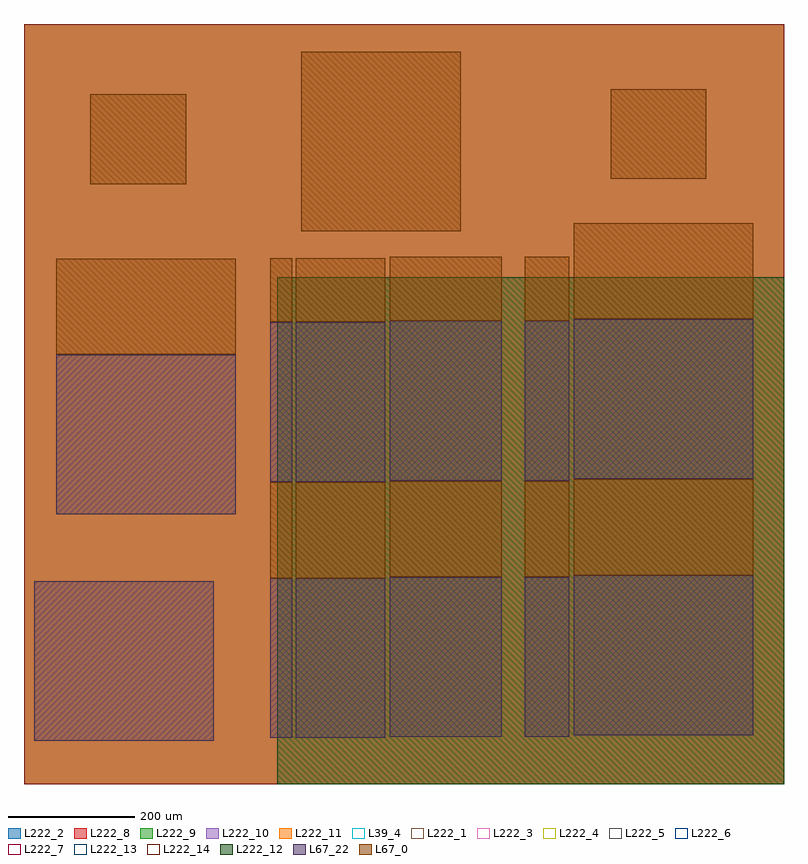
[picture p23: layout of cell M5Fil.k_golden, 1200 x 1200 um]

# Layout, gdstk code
import gdstk
lib = gdstk.Library(unit=1e-6, precision=1e-09)
def R(c, l, rs):  # rectangles x0, y0, x1, y1
    for r in rs: c.add(gdstk.rectangle(r[:2], r[2:], *l))
def A(c, l, x, y, w, h, nx, ny, dx, dy):  # array of equal rectangles
    R(c, l, [(x+i*dx, y+j*dy, x+i*dx+w, y+j*dy+h) for i in range(nx) for j in range(ny)])
L39_4 = (39, 4)
L67_0 = (67, 0)
L67_22 = (67, 22)
L222_1 = (222, 1)
L222_2 = (222, 2)
L222_3 = (222, 3)
L222_4 = (222, 4)
L222_5 = (222, 5)
L222_6 = (222, 6)
L222_7 = (222, 7)
L222_8 = (222, 8)
L222_9 = (222, 9)
L222_10 = (222, 10)
L222_11 = (222, 11)
L222_12 = (222, 12)
L222_13 = (222, 13)
L222_14 = (222, 14)

m5fil_k_golden = lib.new_cell('M5Fil.k_golden')
R(m5fil_k_golden, L39_4, [(0,0,1200,1200)])
A(m5fil_k_golden, L67_0, 388.907, 325.181, 35, 50, 1, 3, 0, 50.5)
A(m5fil_k_golden, L67_0, 428.961, 325.181, 35, 50, 4, 3, 35.5, 50.5)
A(m5fil_k_golden, L67_0, 577.375, 326.969, 35, 50, 5, 3, 35.5, 50.5)
A(m5fil_k_golden, L67_0, 790.375, 326.969, 35, 50, 1, 3, 0, 50.5)
A(m5fil_k_golden, L67_0, 825.875, 326.969, 35, 50, 1, 3, 0, 50.5)
A(m5fil_k_golden, L67_0, 867.765, 329.83, 35, 50, 8, 3, 35.5, 50.5)
A(m5fil_k_golden, L67_0, 51.184, 678.548, 35, 50, 8, 3, 35.5, 50.5)
A(m5fil_k_golden, L67_0, 428.961, 729.88, 35, 50, 4, 2, 35.5, 50.5)
A(m5fil_k_golden, L67_0, 577.375, 731.668, 35, 50, 5, 2, 35.5, 50.5)
A(m5fil_k_golden, L67_0, 867.765, 734.529, 35, 50, 8, 3, 35.5, 50.5)
A(m5fil_k_golden, L67_0, 437.464, 872.858, 50, 35, 5, 8, 50.5, 35.5)
A(m5fil_k_golden, L67_0, 104.944, 947.263, 50, 35, 3, 4, 50.5, 35.5)
A(m5fil_k_golden, L67_0, 926.574, 955.698, 50, 35, 3, 4, 50.5, 35.5)
R(m5fil_k_golden, L67_0, [(388.907,729.88,423.907,779.88), (790.375,731.668,825.375,781.668), (825.875,731.668,860.875,781.668), (388.907,780.38,423.907,830.38), (790.375,782.168,825.375,832.168), (825.875,782.168,860.875,832.168)])
A(m5fil_k_golden, L67_22, 15.949, 68.148, 35, 50, 8, 5, 35.5, 50.5)
A(m5fil_k_golden, L67_22, 388.907, 72.681, 35, 50, 1, 5, 0, 50.5)
A(m5fil_k_golden, L67_22, 428.961, 72.681, 35, 50, 4, 5, 35.5, 50.5)
A(m5fil_k_golden, L67_22, 577.375, 74.469, 35, 50, 5, 5, 35.5, 50.5)
A(m5fil_k_golden, L67_22, 790.375, 74.469, 35, 50, 1, 5, 0, 50.5)
A(m5fil_k_golden, L67_22, 825.875, 74.469, 35, 50, 1, 5, 0, 50.5)
A(m5fil_k_golden, L67_22, 867.765, 77.33, 35, 50, 8, 5, 35.5, 50.5)
A(m5fil_k_golden, L67_22, 51.184, 426.048, 35, 50, 8, 5, 35.5, 50.5)
A(m5fil_k_golden, L67_22, 388.907, 477.38, 35, 50, 1, 5, 0, 50.5)
A(m5fil_k_golden, L67_22, 428.961, 477.38, 35, 50, 4, 5, 35.5, 50.5)
A(m5fil_k_golden, L67_22, 577.375, 479.168, 35, 50, 5, 5, 35.5, 50.5)
A(m5fil_k_golden, L67_22, 790.375, 479.168, 35, 50, 1, 5, 0, 50.5)
A(m5fil_k_golden, L67_22, 825.875, 479.168, 35, 50, 1, 5, 0, 50.5)
A(m5fil_k_golden, L67_22, 867.765, 482.029, 35, 50, 8, 5, 35.5, 50.5)
R(m5fil_k_golden, L222_1, [(0,0,1200,1200)])
R(m5fil_k_golden, L222_2, [(0,0,800,800), (400,0,1200,800), (0,400,800,1200), (400,400,1200,1200)])
R(m5fil_k_golden, L222_3, [(0,0,1200,1200)])
R(m5fil_k_golden, L222_4, [(0,0,1200,1200)])
R(m5fil_k_golden, L222_5, [(0,0,1200,1200)])
R(m5fil_k_golden, L222_6, [(0,0,1200,1200)])
R(m5fil_k_golden, L222_7, [(0,0,1200,1200)])
R(m5fil_k_golden, L222_8, [(0,0,800,800), (400,0,1200,800), (0,400,800,1200), (400,400,1200,1200)])
R(m5fil_k_golden, L222_9, [(0,0,800,800), (400,0,1200,800), (0,400,800,1200), (400,400,1200,1200)])
R(m5fil_k_golden, L222_10, [(0,0,800,800), (400,0,1200,800), (0,400,800,1200), (400,400,1200,1200)])
R(m5fil_k_golden, L222_11, [(0,0,800,800), (400,0,1200,800), (0,400,800,1200), (400,400,1200,1200)])
R(m5fil_k_golden, L222_12, [(400,0,1200,800)])
R(m5fil_k_golden, L222_13, [(0,0,1200,1200)])
R(m5fil_k_golden, L222_14, [(0,0,1200,1200)])

lib.write_gds('M5Fil.k_golden.gds')
